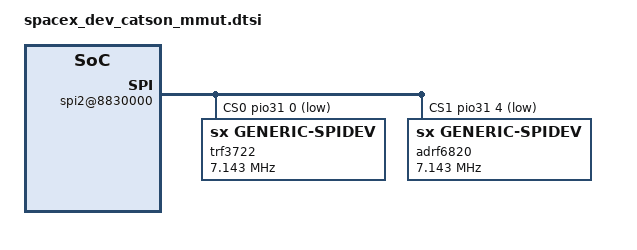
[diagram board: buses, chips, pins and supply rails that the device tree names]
/*
 * Copyright (C) 2018 STMicroelectronics (R&D) Limited.
 * Author: Nicolas Toromanoff <nicolas.toromanoff@st.com>
 *
 * This program is free software; you can redistribute it and/or modify
 * it under the terms of the GNU General Public License version 2 as
 * published by the Free Software Foundation.
 */

#include <dt-bindings/gpio/gpio.h>

/ {
    /* Define the RF hardware available on the utdev board. */

	gpios {
		/*
		 * MMUT bootstrap ID pins
		 */
		slot_id_0    = <&pio12 4>;
		slot_id_1    = <&pio12 5>;
		slot_id_2    = <&pio12 6>;
		slot_id_3    = <&pio12 7>;

		chassis_id_0    = <&pio20 0>;
		chassis_id_1    = <&pio20 1>;
		chassis_id_2    = <&pio20 2>;
		chassis_id_3    = <&pio20 3>;
		chassis_id_4    = <&pio20 4>;
		chassis_id_5    = <&pio20 5>;
		chassis_id_6    = <&pio20 6>;
		chassis_id_7    = <&pio20 7>;

		/*
		 * MMUT-specific pins.
		 */
		lv_warn         = <&pio23 5>;
		vtt_pgood       = <&pio30 3>;
		gps_reset     = <&pio11 7 0>;

		/*
		 * Mod/demod lock detect.
		 */
		spi_up_ld    = <&pio23 0>;
		spi_down_ld  = <&pio23 1>;

		/*
		 * Mark Sapper 3/6/19:
		 * RF-CTL-GPIO needs to be driven low to enable the demod.
		 * RF-TX-RX-SWITCH needs to be driven low to enable the mod.
		 */
		mod_enable_n   = <&pio31 1 1>; /* MODE-ENA-A-3V */
		demod_enable_n = <&pio31 2 1>; /* DEMOD-ENA-A-3V */

	};

	spidevs {
		trf3722 = <&trf3722>;
		adrf6820 = <&adrf6820>;
	};

	soc {
		l1l2sync: l1l2sync {
			pinctrl-0 = <&pinctrl_gps_1pps>;
		};

		spi2@8830000 {
			#address-cells = <1>;
			#size-cells = <0>;

			status = "okay";
			num-cs = <2>;
			cs-gpios = <
				&pio31 0 GPIO_ACTIVE_LOW /* Upconverter CSN */
				&pio31 4 GPIO_ACTIVE_LOW /* Downconverter CSN */
			>;
			pinctrl-names = "default";
			pinctrl-0 = <&pinctrl_spi2_alt>;

			/* Quadrature modulator (upconverter) */
			trf3722: spi@0 {
				/* spidev interface for checkout */
				compatible = "sx,generic-spidev";
				reg = <0>;

				/*
				 * 20 MHz chip (theoretical)
				 * Catson limited to 14.285MHz
				 * Drop SPI frequency to actually meet
				 * setup/hold requirements
				 */
				spi-max-frequency = <7142500>;
			};

			/* Quadrature demodulator (downconverter) */
			adrf6820: spi@1 {
				/* spidev interface for checkout */
				compatible = "sx,generic-spidev";
				reg = <1>;

				/*
				 * 26.3 MHz chip (theoretical)
				 * Catson limited to 14.285MHz
				 * Drop SPI frequency to actually meet
				 * setup/hold requirements
				 */
				spi-max-frequency = <7142500>;
			};
		};
	};
};
